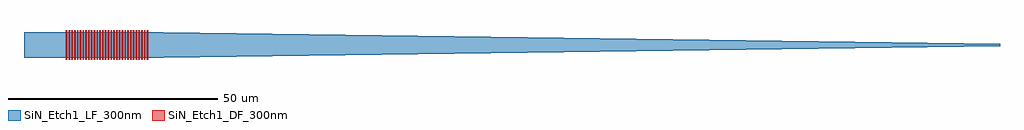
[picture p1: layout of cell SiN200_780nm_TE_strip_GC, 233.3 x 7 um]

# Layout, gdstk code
import gdstk
lib = gdstk.Library(unit=1e-6, precision=1e-09)
def R(c, l, rs):  # rectangles x0, y0, x1, y1
    for r in rs: c.add(gdstk.rectangle(r[:2], r[2:], *l))
def A(c, l, x, y, w, h, nx, ny, dx, dy):  # array of equal rectangles
    R(c, l, [(x+i*dx, y+j*dy, x+i*dx+w, y+j*dy+h) for i in range(nx) for j in range(ny)])
def P(c, l, *ps):  # polygons
    for p in ps: c.add(gdstk.Polygon(p, *l))
SiN_Etch1_LF_300nm = (203, 0)
SiN_Etch1_DF_300nm = (204, 0)

sin200_780nm_te_strip_gc = lib.new_cell('SiN200_780nm_TE_strip_GC')
P(sin200_780nm_te_strip_gc, SiN_Etch1_LF_300nm, [(-233.3,-3),(-233.3,3),(-200,3),(0,0.25),(0,-0.25),(-200,-3)])
A(sin200_780nm_te_strip_gc, SiN_Etch1_DF_300nm, -223.3, -3.5, 0.334, 7, 30, 1, 0.668, 0)

lib.write_gds('SiN200_780nm_TE_strip_GC.gds')
